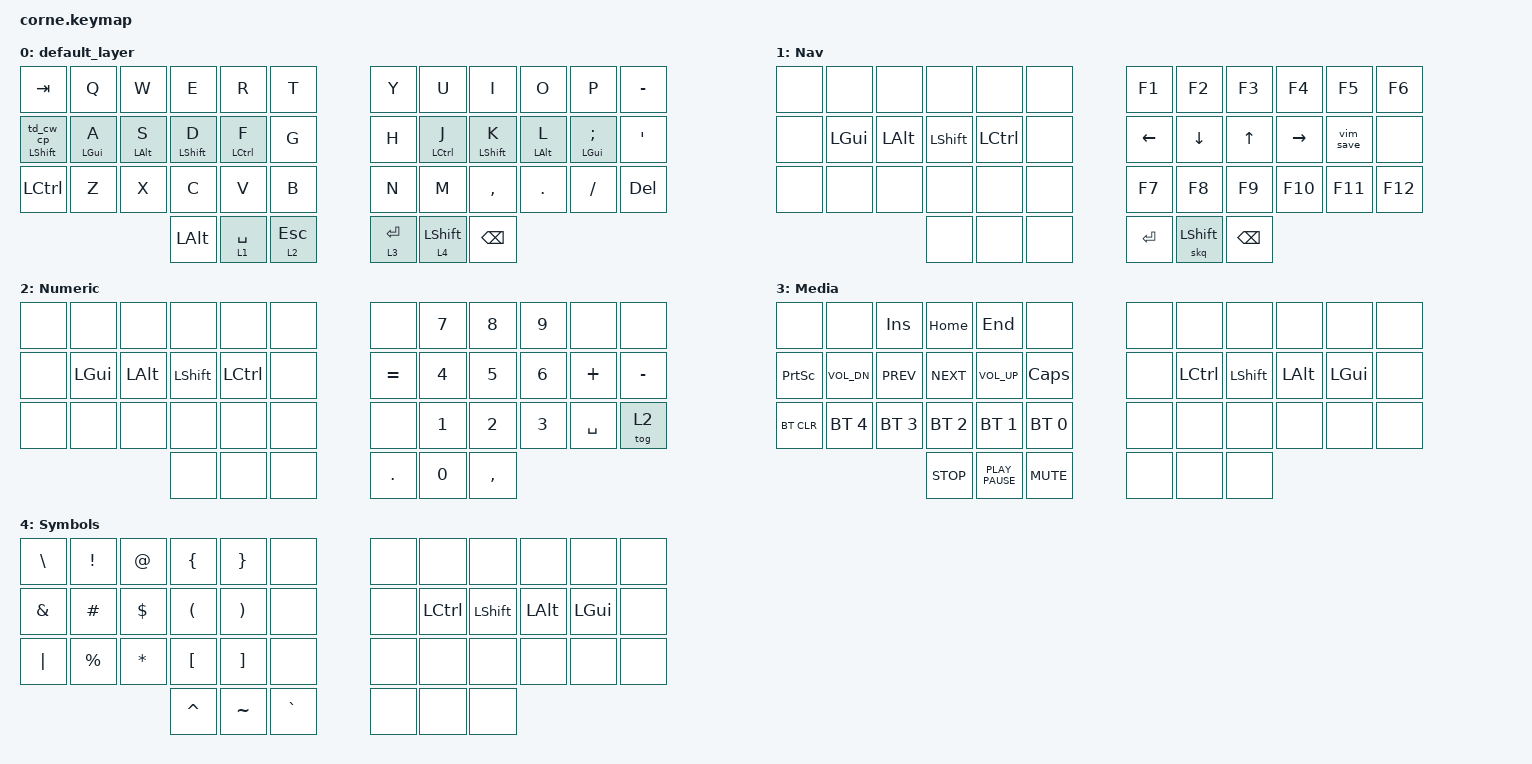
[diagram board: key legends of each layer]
#include <behaviors.dtsi>
#include <dt-bindings/zmk/bt.h>
#include <dt-bindings/zmk/keys.h>

#include "zmk-helpers/key-labels/42.h"     

#include "includes/settings.dtsi"
#include "includes/behaviours_homerow_mods.dtsi"

#define KEYS_L LT0 LT1 LT2 LT3 LT4 LT5 LM0 LM1 LM2 LM3 LM4 LM5 LB0 LB1 LB2 LB3 LB4 LB5  // left-hand keys
#define KEYS_R RT0 RT1 RT2 RT3 RT4 RT5 RM0 RM1 RM2 RM3 RM4 RM5 RB0 RB1 RB2 RB3 RB4 RB5// right-hand keys
#define KEYS_T LH2 LH1 LH0 RH0 RH1 RH2                                      // thumb keys

#define TAPPING_TERM 300
#define TAPPING_TERM_FAST 200
#define QUICK_TAP_TERM 175
#define HM_PRIOR_IDLE 150

&caps_word {
    continue-list = <
      UNDERSCORE MINUS
      LCTRL LALT LGUI LSHFT
      RCTRL RALT RGUI RSHFT
      BACKSPACE
    >;
};

/ {
    macros {
        vim_save: vim_save {
            compatible = "zmk,behavior-macro";
            #binding-cells = <0>;
            bindings = <&kp COLON &kp W &kp RET>;
        };
    };
};
 
/ {
    combos {
        compatible = "zmk,combos";

        combo_numeric_layer {
            timeout-ms = <50>;
            key-positions = <RH1 RH2>;
            bindings = <&tog 2>;
        };
        
        combo_cedilla {
            timeout-ms = <50>;
            key-positions = <RM5 LB2>;
            bindings = <&kp RA(COMMA)>;
        };
    };
};

/ {

    behaviors {
        /*******************************
         * STICKY KEY
         *******************************/
        skq: sticky_key_quick_release {
            compatible = "zmk,behavior-sticky-key";
            #binding-cells = <1>;
            bindings = <&kp>;
            release-after-ms = <1000>;
            quick-release;
            ignore-modifiers;
        };


        /*******************************
         * UNIVERSAL LAYER TAP
         *******************************/
        u_lt: universal_layer_tap {
            compatible = "zmk,behavior-hold-tap";
            #binding-cells = <2>;
            tapping-term-ms = <TAPPING_TERM_FAST>;
            quick-tap-ms = <QUICK_TAP_TERM>;
            flavor = "tap-preferred";
            bindings = <&mo>, <&kp>;
        };

        u_lt_sk: universal_layer_tap_with_sk {
            compatible = "zmk,behavior-hold-tap";
            #binding-cells = <2>;
            tapping-term-ms = <TAPPING_TERM_FAST>;
            quick-tap-ms = <QUICK_TAP_TERM>;
            flavor = "tap-preferred";
            bindings = <&mo>, <&skq>;
        };


        /*******************************
         * HOME ROW MODS
         *******************************/
        hm_l: homerow_mods_left {
            compatible = "zmk,behavior-hold-tap";
            #binding-cells = <2>;
            bindings = <&kp>,  <&kp>;

            flavor = "balanced";
            tapping-term-ms = <TAPPING_TERM>;
            quick-tap-ms = <QUICK_TAP_TERM>;
            require-prior-idle-ms = <HM_PRIOR_IDLE>;

            hold-trigger-key-positions = <KEYS_R KEYS_T>;
            hold-trigger-on-release;
        };

        hm_r: homerow_mods_right {
            compatible = "zmk,behavior-hold-tap";
            #binding-cells = <2>;
            bindings = <&kp>, <&kp>;

            flavor = "balanced";
            tapping-term-ms = <TAPPING_TERM>;
            quick-tap-ms = <QUICK_TAP_TERM>;
            require-prior-idle-ms = <HM_PRIOR_IDLE>;

            hold-trigger-key-positions = <KEYS_L KEYS_T>;
            hold-trigger-on-release;
        };


        /*******************************
         * HOME ROW MODS - SHIFT
         *******************************/
        hm_shift_l: hm_shift_l {
            compatible = "zmk,behavior-hold-tap";
            #binding-cells = <2>;
            bindings = <&kp>, <&kp>;

            flavor = "balanced";
            tapping-term-ms = <TAPPING_TERM_FAST>;
            quick-tap-ms = <QUICK_TAP_TERM>;
            require-prior-idle-ms = <HM_PRIOR_IDLE>;

            hold-trigger-key-positions = <KEYS_R KEYS_T>;
            hold-trigger-on-release;
        };

        hm_shift_r: hm_shift_r {
            compatible = "zmk,behavior-hold-tap";
            #binding-cells = <2>;
            bindings = <&kp>, <&kp>;

            flavor = "balanced";
            tapping-term-ms = <TAPPING_TERM_FAST>;
            quick-tap-ms = <QUICK_TAP_TERM>;
            require-prior-idle-ms = <HM_PRIOR_IDLE>;

            hold-trigger-key-positions = <KEYS_L KEYS_T>;
            hold-trigger-on-release;
        };


        /*******************************
         * EXTRAS
         *******************************/
        // Tap dance: Caps Word (tap) / Caps Lock (tap 2x)
        td_cw_cp: TD_CAPSWORD_CAPSLOCK {
            compatible = "zmk,behavior-tap-dance";
            #binding-cells = <0>;
            tapping-term-ms = <QUICK_TAP_TERM>;
            bindings = <&caps_word>, <&kp CAPSLOCK>;
        };

        // Hold tap: Caps Word (tap) / Caps Lock (tap 2x) / Shift (hold)
        ht_kp_td: ht_shft_cw_cp {
            compatible = "zmk,behavior-hold-tap";
            #binding-cells = <2>;
            flavor = "balanced";
            tapping-term-ms = <TAPPING_TERM_FAST>;
            quick-tap-ms = <QUICK_TAP_TERM>;
            bindings = <&kp>, <&td_cw_cp>;
        };
    };
};

/ {
    keymap {
        compatible = "zmk,keymap";

        default_layer {
            bindings = <
&kp TAB    &kp Q  &kp W  &kp E     &kp R        &kp T        &kp Y      &kp U       &kp I      &kp O    &kp P     &kp MINUS
&ht_kp_td LSHFT 0  &hm_l LGUI A  &hm_l LALT S  &hm_shift_l LSHFT D     &hm_l LCTRL F        &kp G        &kp H      &hm_r LCTRL J       &hm_shift_r LSHFT K      &hm_r LALT L    &hm_r LGUI SEMI  &kp SQT
&kp LCTRL  &kp Z  &kp X  &kp C     &kp V        &kp B        &kp N      &kp M       &kp COMMA  &kp DOT  &kp FSLH  &kp DEL
                         &kp LALT  &u_lt 1 SPACE  &u_lt 2 ESC    &u_lt 3 RET  &u_lt_sk 4 LSHFT  &kp BSPC
            >;
        };

        Nav {
            bindings = <
&none  &none     &none     &none      &none      &none    &kp F1    &kp F2         &kp F3   &kp F4     &kp F5   &kp F6
&none  &kp LGUI  &kp LALT  &kp LSHFT  &kp LCTRL  &none    &kp LEFT  &kp DOWN       &kp UP   &kp RIGHT  &vim_save    &none
&none  &none     &none     &none      &none      &none    &kp F7    &kp F8         &kp F9   &kp F10    &kp F11  &kp F12
                           &none      &none      &none    &kp RET   &skq LSHFT    &kp BSPC
            >;
        };

        Numeric {
            bindings = <
&none  &none     &none     &none      &none      &none    &none      &kp N7  &kp N8     &kp N9  &none           &none
&none  &kp LGUI  &kp LALT  &kp LSHFT  &kp LCTRL  &none    &kp EQUAL  &kp N4  &kp N5     &kp N6  &kp PLUS        &kp MINUS
&none  &none     &none     &none      &none      &none    &none      &kp N1  &kp N2     &kp N3  &kp SPACE       &tog 2
                           &none      &none      &none    &kp DOT    &kp N0  &kp COMMA
            >;
        };

        Media {
            bindings = <
&none            &none         &kp INS       &kp HOME      &kp END           &none           &none  &none      &none      &none     &none     &none
&kp PRINTSCREEN  &kp C_VOL_DN  &kp K_PREV    &kp K_NEXT    &kp C_VOL_UP      &kp CAPS           &none  &kp LCTRL  &kp LSHFT  &kp LALT  &kp LGUI  &none
&bt BT_CLR       &bt BT_SEL 4  &bt BT_SEL 3  &bt BT_SEL 2  &bt BT_SEL 1      &bt BT_SEL 0    &none  &none      &none      &none     &none     &none
                                             &kp K_STOP    &kp K_PLAY_PAUSE  &kp K_MUTE      &none  &none      &none
            >;
        };

        Symbols {
            bindings = <
&kp BSLH  &kp EXCL   &kp AT_SIGN  &kp LEFT_BRACE  &kp RIGHT_BRACE  &none        &none  &none      &none      &none     &none     &none
&kp AMPS  &kp HASH   &kp DLLR     &kp LPAR        &kp RPAR         &none        &none  &kp LCTRL  &kp LSHFT  &kp LALT  &kp LGUI  &none
&kp PIPE  &kp PRCNT  &kp ASTRK    &kp LBKT        &kp RBKT         &none        &none  &none      &none      &none     &none     &none
                                  &kp CARET       &kp TILDE        &kp GRAVE    &none  &none      &none
            >;
        };
    };
};
